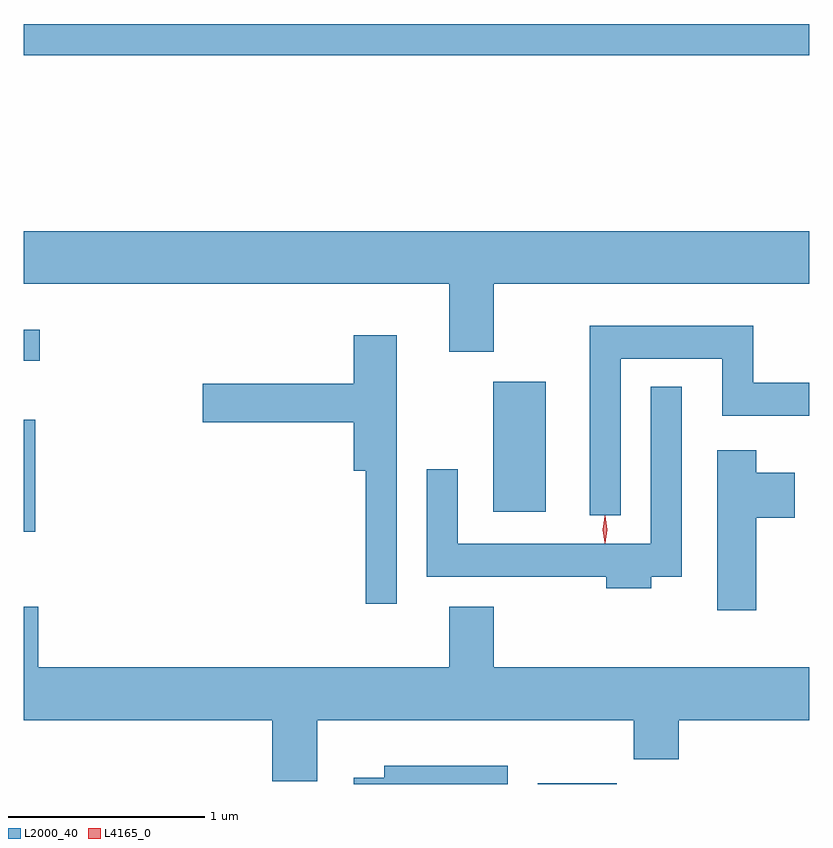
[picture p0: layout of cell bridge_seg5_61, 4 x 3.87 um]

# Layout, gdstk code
import gdstk
lib = gdstk.Library(unit=1e-6, precision=1e-09)
def R(c, l, rs):  # rectangles x0, y0, x1, y1
    for r in rs: c.add(gdstk.rectangle(r[:2], r[2:], *l))
def P(c, l, *ps):  # polygons
    for p in ps: c.add(gdstk.Polygon(p, *l))
L2000_40 = (2000, 40)
L4165_0 = (4165, 0)

bridge_seg5_61 = lib.new_cell('bridge_seg5_61')
R(bridge_seg5_61, L2000_40, [(1317.351,1472.011,1317.754,1472.014), (1314.735,1473.296,1314.794,1473.864), (1317.126,1473.396,1317.394,1474.059), (1314.735,1474.166,1314.818,1474.324), (1314.735,1475.721,1318.735,1475.879)])
P(bridge_seg5_61, L2000_40, [(1317.129,1474.556),(1318.735,1474.556),(1318.735,1474.824),(1314.735,1474.824),(1314.735,1474.556),(1316.901,1474.556),(1316.901,1474.211),(1317.129,1474.211)],
  [(1317.774,1474.176),(1318.291,1474.176),(1318.291,1473.886),(1318.735,1473.886),(1318.735,1474.054),(1318.449,1474.054),(1318.449,1474.344),(1317.616,1474.344),(1317.616,1473.378),(1317.774,1473.378)],
  [(1316.634,1474.294),(1316.416,1474.294),(1316.416,1474.049),(1315.646,1474.049),(1315.646,1473.851),(1316.416,1473.851),(1316.416,1473.606),(1316.476,1473.606),(1316.476,1472.928),(1316.634,1472.928)],
  [(1317.929,1473.066),(1318.084,1473.066),(1318.084,1474.033),(1317.926,1474.033),(1317.926,1473.234),(1316.944,1473.234),(1316.944,1473.613),(1316.786,1473.613),(1316.786,1473.066),(1317.701,1473.066),(1317.701,1473.006),(1317.929,1473.006)],
  [(1318.464,1473.366),(1318.659,1473.366),(1318.659,1473.594),(1318.464,1473.594),(1318.464,1473.709),(1318.266,1473.709),(1318.266,1472.896),(1318.464,1472.896)],
  [(1316.229,1472.336),(1317.841,1472.336),(1317.841,1472.136),(1318.069,1472.136),(1318.069,1472.336),(1318.735,1472.336),(1318.735,1472.604),(1317.129,1472.604),(1317.129,1472.914),(1316.901,1472.914),(1316.901,1472.604),(1314.809,1472.604),(1314.809,1472.914),(1314.735,1472.914),(1314.735,1472.336),(1316.001,1472.336),(1316.001,1472.026),(1316.229,1472.026)],
  [(1317.199,1472.104),(1316.571,1472.104),(1316.571,1472.044),(1316.416,1472.044),(1316.416,1472.011),(1317.199,1472.011)])
P(bridge_seg5_61, L4165_0, [(1317.694,1473.237),(1317.685,1473.306),(1317.694,1473.376),(1317.695,1473.376),(1317.696,1473.376),(1317.705,1473.306),(1317.696,1473.237),(1317.695,1473.237)],
  [(1317.692,1473.239),(1317.692,1473.24),(1317.682,1473.306),(1317.692,1473.372),(1317.692,1473.373),(1317.693,1473.372),(1317.702,1473.306),(1317.693,1473.24)])

lib.write_gds('bridge_seg5_61.gds')
